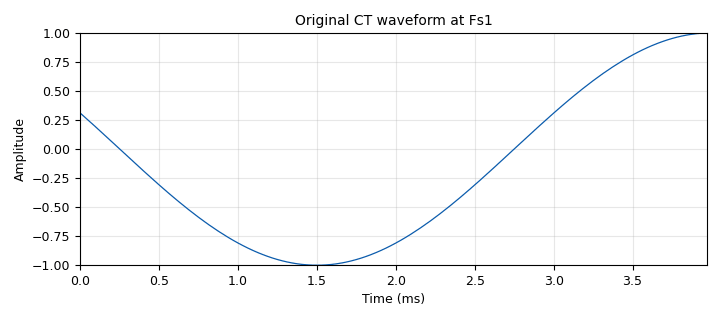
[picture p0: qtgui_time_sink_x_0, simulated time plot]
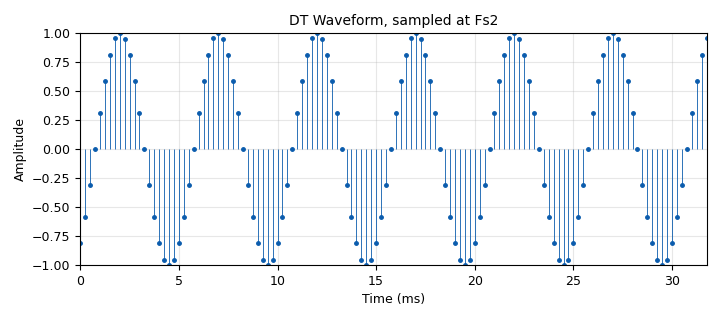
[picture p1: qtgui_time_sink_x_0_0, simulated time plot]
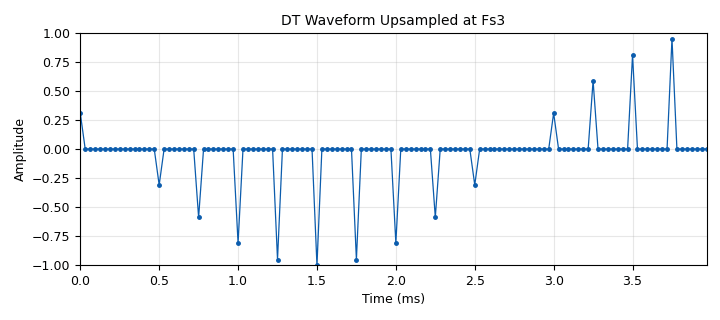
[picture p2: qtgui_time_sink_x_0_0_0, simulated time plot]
options:
  parameters:
    author: rcampello
    generate_options: qt_gui
    id: E1C
    output_language: python
    title: E1C
  states: {}

blocks:
- name: Fs1
  id: variable
  parameters:
    value: samp_rate
  states: {}
- name: Fs2
  id: variable
  parameters:
    value: Fs1 // dsamp
  states: {}
- name: Fs3
  id: variable
  parameters:
    value: Fs2 * usamp
  states: {}
- name: dly
  id: variable_qtgui_range
  parameters:
    gui_hint: 8, 0, 1, 1
    orient: Qt.Horizontal
    rangeType: int
    start: '0'
    step: '1'
    stop: '1000'
    value: '360'
  states: {}
- name: dsamp
  id: variable
  parameters:
    value: '8'
  states: {}
- name: f0
  id: variable_qtgui_range
  parameters:
    gui_hint: 1,1, 1, 1
    orient: Qt.Horizontal
    start: '-5000'
    step: '1'
    stop: '5000'
    value: int(0.2e3)
  states: {}
- name: fc
  id: variable_qtgui_range
  parameters:
    gui_hint: 2,1,1,1
    orient: Qt.Horizontal
    start: '-16000'
    step: '1'
    stop: '16000'
    value: Fs2
  states: {}
- name: k
  id: variable
  parameters:
    value: '5'
  states: {}
- name: nofpoints
  id: variable
  parameters:
    value: '128'
  states: {}
- name: offset
  id: variable_qtgui_range
  parameters:
    gui_hint: 0, 1, 1, 1
    orient: Qt.Horizontal
    start: '-1'
    step: '0.01'
    stop: '1'
    value: '0'
  states: {}
- name: samp_rate
  id: variable
  parameters:
    value: '32000'
  states: {}
- name: usamp
  id: variable
  parameters:
    value: '8'
  states: {}
- name: waveform
  id: variable_qtgui_chooser
  parameters:
    gui_hint: 0, 0, 3, 1
    label0: Cosine
    label1: Rectangular
    label2: Triangular
    num_opts: '3'
    option1: '103'
    option2: '104'
    type: int
    value: '102'
    widget: radio_buttons
  states: {}
- name: analog_sig_source_x_0
  id: analog_sig_source_x
  parameters:
    amp: '1'
    freq: f0
    offset: offset
    phase: '0'
    samp_rate: samp_rate
    type: float
    waveform: waveform
  states: {}
- name: analog_sig_source_x_0_0
  id: analog_sig_source_x
  parameters:
    amp: '1'
    freq: fc + f0
    offset: offset
    phase: '0'
    samp_rate: Fs1
    type: float
    waveform: waveform
  states: {}
- name: analog_sig_source_x_0_0_0
  id: analog_sig_source_x
  parameters:
    amp: '1'
    freq: fc - f0
    offset: offset
    phase: '0'
    samp_rate: Fs1
    type: float
    waveform: waveform
  states: {}
- name: blocks_add_xx_0
  id: blocks_add_xx
  parameters:
    type: float
  states: {}
- name: blocks_delay_0
  id: blocks_delay
  parameters:
    delay: dly
    type: float
  states: {}
- name: blocks_throttle_0
  id: blocks_throttle
  parameters:
    samples_per_second: samp_rate
    type: float
  states: {}
- name: fir_filter_xxx_0
  id: fir_filter_xxx
  parameters:
    decim: dsamp
    taps: '1'
    type: fff
  states: {}
- name: import_0
  id: import
  parameters:
    imports: import  ptfun as pf
  states: {}
- name: import_0_0
  id: import
  parameters:
    imports: import numpy as np
  states: {}
- name: interp_fir_filter_xxx_0
  id: interp_fir_filter_xxx
  parameters:
    interp: usamp
    taps: '1'
    type: fff
  states: {}
- name: interp_fir_filter_xxx_0_0
  id: interp_fir_filter_xxx
  parameters:
    interp: '1'
    taps: 2*np.cos(2*np.pi*fc/float(Fs3) * np.arange(-k*usamp, k*usamp)) * pf.pampt(usamp, 'sinc', [k, 2.6])
    type: fff
  states: {}
- name: qtgui_freq_sink_x_0
  id: qtgui_freq_sink_x
  parameters:
    bw: Fs3
    fc: '0'
    fftsize: '1024'
    gui_hint: 5, 1, 1, 1
    type: float
    wintype: firdes.WIN_BLACKMAN_hARRIS
  states: {}
- name: qtgui_time_sink_x_0
  id: qtgui_time_sink_x
  parameters:
    gui_hint: 3, 0, 1, 1
    name: '"Original CT waveform at Fs1"'
    size: nofpoints
    srate: Fs1
    type: float
    yunit: '"x(t)"'
  states: {}
- name: qtgui_time_sink_x_0_0
  id: qtgui_time_sink_x
  parameters:
    gui_hint: 3, 1, 1, 1
    marker1: '0'
    name: '"DT Waveform, sampled at Fs2"'
    size: nofpoints
    srate: Fs2
    stemplot: 'True'
    type: float
    yunit: '"x[n]"'
  states: {}
- name: qtgui_time_sink_x_0_0_0
  id: qtgui_time_sink_x
  parameters:
    gui_hint: 4, 0, 1, 1
    marker1: '0'
    name: '"DT Waveform Upsampled at Fs3"'
    size: nofpoints
    srate: Fs3
    type: float
    yunit: '"x[n/usamp]"'
  states: {}
- name: qtgui_time_sink_x_0_0_0_0
  id: qtgui_time_sink_x
  parameters:
    autoscale: 'True'
    gui_hint: 4, 1, 1, 1
    name: '"Reconstructed ''CT'' Waveform (at Fs3)"'
    size: nofpoints * 3
    srate: Fs3
    type: float
    yunit: '"x(t)"'
  states: {}
- name: qtgui_time_sink_x_0_0_0_0_0
  id: qtgui_time_sink_x
  parameters:
    autoscale: 'True'
    entags: 'False'
    gui_hint: 6, 0, 2, 2
    name: '"Comparação"'
    nconnections: '2'
    size: nofpoints * 3
    srate: Fs3
    type: float
    yunit: '"x(t)"'
  states: {}

connections:
- [analog_sig_source_x_0, '0', blocks_throttle_0, '0']
- [analog_sig_source_x_0_0, '0', blocks_add_xx_0, '0']
- [analog_sig_source_x_0_0_0, '0', blocks_add_xx_0, '1']
- [blocks_add_xx_0, '0', blocks_delay_0, '0']
- [blocks_delay_0, '0', qtgui_time_sink_x_0_0_0_0_0, '1']
- [blocks_throttle_0, '0', fir_filter_xxx_0, '0']
- [blocks_throttle_0, '0', qtgui_time_sink_x_0, '0']
- [fir_filter_xxx_0, '0', interp_fir_filter_xxx_0, '0']
- [fir_filter_xxx_0, '0', qtgui_time_sink_x_0_0, '0']
- [interp_fir_filter_xxx_0, '0', interp_fir_filter_xxx_0_0, '0']
- [interp_fir_filter_xxx_0, '0', qtgui_time_sink_x_0_0_0, '0']
- [interp_fir_filter_xxx_0_0, '0', qtgui_freq_sink_x_0, '0']
- [interp_fir_filter_xxx_0_0, '0', qtgui_time_sink_x_0_0_0_0, '0']
- [interp_fir_filter_xxx_0_0, '0', qtgui_time_sink_x_0_0_0_0_0, '0']

metadata:
  file_format: 1
